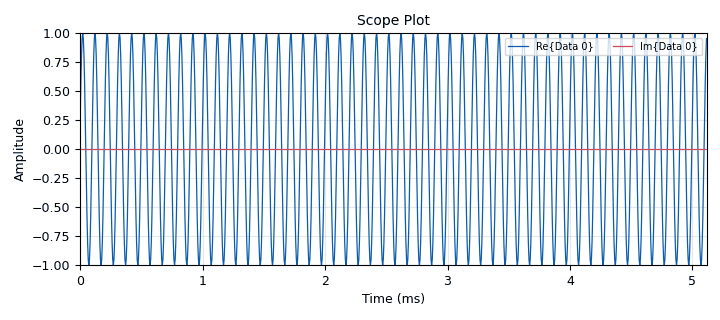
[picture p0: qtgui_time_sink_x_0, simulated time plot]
<?xml version='1.0' encoding='utf-8'?>
<?grc format='1' created='3.7.10'?>
<flow_graph>
<block>
<key>options</key>
<param><key>id</key><value>usrp_tx_carrier</value></param>
<param><key>author</key><value>Nicholas Bruce</value></param>
<param><key>category</key><value>Custom</value></param>
<param><key>generate_options</key><value>qt_gui</value></param>
<param><key>title</key><value>USRP TX Carrier</value></param>
</block>
<block>
<key>variable</key>
<param><key>id</key><value>fc</value></param>
<param><key>value</key><value>10000</value></param>
</block>
<block>
<key>variable_qtgui_range</key>
<param><key>id</key><value>gain</value></param>
<param><key>value</key><value>1</value></param>
<param><key>orient</key><value>Qt.Horizontal</value></param>
<param><key>start</key><value>0</value></param>
<param><key>step</key><value>1</value></param>
<param><key>stop</key><value>100</value></param>
</block>
<block>
<key>variable_qtgui_chooser</key>
<param><key>id</key><value>q_amplitude</value></param>
<param><key>value</key><value>0</value></param>
<param><key>label0</key><value>0</value></param>
<param><key>label1</key><value>sin(2*pi*fc*t)</value></param>
<param><key>label2</key><value>-sin(2*pi*fc*t)</value></param>
<param><key>label</key><value>Q(t)</value></param>
<param><key>num_opts</key><value>3</value></param>
<param><key>option0</key><value>0</value></param>
<param><key>option1</key><value>1</value></param>
<param><key>option2</key><value>-1</value></param>
<param><key>orient</key><value>Qt.QHBoxLayout</value></param>
<param><key>type</key><value>int</value></param>
<param><key>widget</key><value>radio_buttons</value></param>
</block>
<block>
<key>variable</key>
<param><key>id</key><value>samp_rate</value></param>
<param><key>value</key><value>200e3</value></param>
</block>
<block>
<key>analog_sig_source_x</key>
<param><key>id</key><value>analog_sig_source_x_0</value></param>
<param><key>amp</key><value>1</value></param>
<param><key>freq</key><value>fc</value></param>
<param><key>offset</key><value>0</value></param>
<param><key>type</key><value>float</value></param>
<param><key>samp_rate</key><value>samp_rate</value></param>
<param><key>waveform</key><value>analog.GR_COS_WAVE</value></param>
</block>
<block>
<key>analog_sig_source_x</key>
<param><key>id</key><value>analog_sig_source_x_1</value></param>
<param><key>amp</key><value>q_amplitude</value></param>
<param><key>freq</key><value>fc</value></param>
<param><key>offset</key><value>0</value></param>
<param><key>type</key><value>float</value></param>
<param><key>samp_rate</key><value>samp_rate</value></param>
<param><key>waveform</key><value>analog.GR_SIN_WAVE</value></param>
</block>
<block>
<key>blocks_float_to_complex</key>
<param><key>id</key><value>blocks_float_to_complex_0</value></param>
</block>
<block>
<key>qtgui_time_sink_x</key>
<param><key>id</key><value>qtgui_time_sink_x_0</value></param>
<param><key>color1</key><value>"blue"</value></param>
<param><key>label1</key><value></value></param>
<param><key>color2</key><value>"red"</value></param>
<param><key>label2</key><value></value></param>
<param><key>name</key><value>"Scope Plot"</value></param>
<param><key>size</key><value>1024</value></param>
<param><key>srate</key><value>samp_rate</value></param>
<param><key>type</key><value>complex</value></param>
</block>
<block>
<key>uhd_usrp_sink</key>
<param><key>id</key><value>uhd_usrp_sink_0</value></param>
<param><key>ant0</key><value></value></param>
<param><key>center_freq0</key><value>50000000</value></param>
<param><key>norm_gain0</key><value>False</value></param>
<param><key>gain0</key><value>gain</value></param>
<param><key>clock_rate</key><value>0.0</value></param>
<param><key>dev_addr</key><value></value></param>
<param><key>dev_args</key><value>""</value></param>
<param><key>_enabled</key><value>0</value></param>
<param><key>type</key><value>fc32</value></param>
<param><key>samp_rate</key><value>samp_rate</value></param>
<param><key>hide_cmd_port</key><value>False</value></param>
<param><key>hide_lo_controls</key><value>True</value></param>
<param><key>sync</key><value></value></param>
<param><key>len_tag_name</key><value></value></param>
</block>
<connection><source_block_id>analog_sig_source_x_0</source_block_id><sink_block_id>blocks_float_to_complex_0</sink_block_id><source_key>0</source_key><sink_key>0</sink_key></connection>
<connection><source_block_id>analog_sig_source_x_1</source_block_id><sink_block_id>blocks_float_to_complex_0</sink_block_id><source_key>0</source_key><sink_key>1</sink_key></connection>
<connection><source_block_id>blocks_float_to_complex_0</source_block_id><sink_block_id>qtgui_time_sink_x_0</sink_block_id><source_key>0</source_key><sink_key>0</sink_key></connection>
<connection><source_block_id>blocks_float_to_complex_0</source_block_id><sink_block_id>uhd_usrp_sink_0</sink_block_id><source_key>0</source_key><sink_key>0</sink_key></connection>
</flow_graph>
